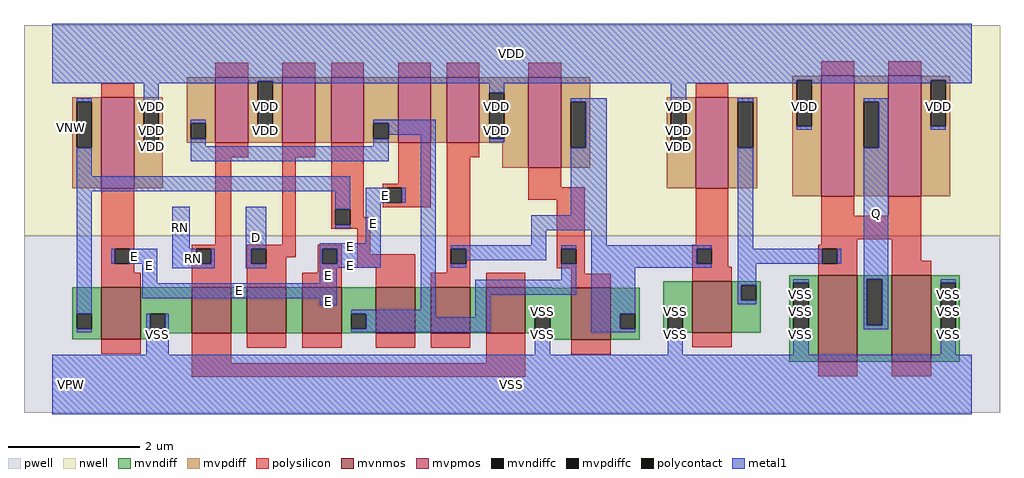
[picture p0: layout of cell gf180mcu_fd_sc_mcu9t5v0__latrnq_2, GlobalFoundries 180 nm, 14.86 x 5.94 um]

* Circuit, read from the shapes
.subckt gf180mcu_fd_sc_mcu9t5v0__latrnq_2 D E RN Q VDD VNW VPW VSS
XM1 VSS E n1 VPW nfet_06v0 w=0.79u l=0.6u
XM2 n2 RN VSS VPW nfet_06v0 w=0.7u l=0.6u
XM3 n3 D n2 VPW nfet_06v0 w=0.7u l=0.6u
XM4 n4 E n3 VPW nfet_06v0 w=0.7u l=0.6u
XM5 n5 n1 n4 VPW nfet_06v0 w=0.7u l=0.6u
XM6 n6 n7 n5 VPW nfet_06v0 w=0.7u l=0.6u
XM7 VSS RN n6 VPW nfet_06v0 w=0.7u l=0.6u
XM8 n7 n4 VSS VPW nfet_06v0 w=0.79u l=0.6u
XM9 n8 n7 VSS VPW nfet_06v0 w=0.79u l=0.6u
XM10 Q n8 VSS VPW nfet_06v0 w=1.32u l=0.6u m=2
XM11 VDD E n1 VNW pfet_06v0 w=1.38u l=0.5u
XM12 VDD RN n4 VNW pfet_06v0 w=1u l=0.5u
XM13 n9 D VDD VNW pfet_06v0 w=1u l=0.5u
XM14 n4 n1 n9 VNW pfet_06v0 w=1u l=0.5u
XM15 n10 E n4 VNW pfet_06v0 w=1u l=0.5u
XM16 VDD n7 n10 VNW pfet_06v0 w=1u l=0.5u
XM17 n7 n4 VDD VNW pfet_06v0 w=1.38u l=0.5u
XM18 n8 n7 VDD VNW pfet_06v0 w=1.38u l=0.5u
XM19 Q n8 VDD VNW pfet_06v0 w=1.83u l=0.5u m=2
.ends

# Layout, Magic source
magic
tech gf180mcuD
magscale 1 10
<< nwell >>
rect -86 453 2886 1094
<< pwell >>
rect -86 -86 2886 453
<< mvnmos >>
rect 149 138 269 296
rect 425 156 545 296
rect 593 156 713 296
rect 761 156 881 296
rect 985 156 1105 296
rect 1153 156 1273 296
rect 1321 156 1441 296
rect 1581 136 1701 294
rect 1949 157 2069 315
rect 2332 69 2452 333
rect 2556 69 2676 333
<< mvpmos >>
rect 149 598 249 874
rect 497 736 597 936
rect 701 736 801 936
rect 849 736 949 936
rect 1053 736 1153 936
rect 1201 736 1301 936
rect 1450 660 1550 936
rect 1959 598 2059 874
rect 2342 574 2442 940
rect 2546 574 2646 940
<< mvndiff >>
rect 61 216 149 296
rect 61 170 74 216
rect 120 170 149 216
rect 61 138 149 170
rect 269 216 425 296
rect 269 170 298 216
rect 344 170 425 216
rect 269 156 425 170
rect 545 156 593 296
rect 713 156 761 296
rect 881 216 985 296
rect 881 170 910 216
rect 956 170 985 216
rect 881 156 985 170
rect 1105 156 1153 296
rect 1273 156 1321 296
rect 1441 294 1521 296
rect 1441 216 1581 294
rect 1441 170 1470 216
rect 1516 170 1581 216
rect 1441 156 1581 170
rect 269 138 349 156
rect 1501 136 1581 156
rect 1701 216 1789 294
rect 1701 170 1730 216
rect 1776 170 1789 216
rect 1701 136 1789 170
rect 1861 216 1949 315
rect 1861 170 1874 216
rect 1920 170 1949 216
rect 1861 157 1949 170
rect 2069 302 2157 315
rect 2069 256 2098 302
rect 2144 256 2157 302
rect 2069 157 2157 256
rect 2244 310 2332 333
rect 2244 170 2257 310
rect 2303 170 2332 310
rect 2244 69 2332 170
rect 2452 320 2556 333
rect 2452 180 2481 320
rect 2527 180 2556 320
rect 2452 69 2556 180
rect 2676 310 2764 333
rect 2676 170 2705 310
rect 2751 170 2764 310
rect 2676 69 2764 170
<< mvpdiff >>
rect 61 861 149 874
rect 61 721 74 861
rect 120 721 149 861
rect 61 598 149 721
rect 249 861 337 874
rect 249 721 278 861
rect 324 721 337 861
rect 409 795 497 936
rect 409 749 422 795
rect 468 749 497 795
rect 409 736 497 749
rect 597 923 701 936
rect 597 783 626 923
rect 672 783 701 923
rect 597 736 701 783
rect 801 736 849 936
rect 949 795 1053 936
rect 949 749 978 795
rect 1024 749 1053 795
rect 949 736 1053 749
rect 1153 736 1201 936
rect 1301 889 1450 936
rect 1301 749 1330 889
rect 1376 749 1450 889
rect 1301 736 1450 749
rect 249 598 337 721
rect 1370 660 1450 736
rect 1550 861 1638 936
rect 2254 927 2342 940
rect 1550 721 1579 861
rect 1625 721 1638 861
rect 1550 660 1638 721
rect 1871 861 1959 874
rect 1871 721 1884 861
rect 1930 721 1959 861
rect 1871 598 1959 721
rect 2059 861 2147 874
rect 2059 721 2088 861
rect 2134 721 2147 861
rect 2059 598 2147 721
rect 2254 787 2267 927
rect 2313 787 2342 927
rect 2254 574 2342 787
rect 2442 861 2546 940
rect 2442 721 2471 861
rect 2517 721 2546 861
rect 2442 574 2546 721
rect 2646 927 2734 940
rect 2646 787 2675 927
rect 2721 787 2734 927
rect 2646 574 2734 787
<< mvndiffc >>
rect 74 170 120 216
rect 298 170 344 216
rect 910 170 956 216
rect 1470 170 1516 216
rect 1730 170 1776 216
rect 1874 170 1920 216
rect 2098 256 2144 302
rect 2257 170 2303 310
rect 2481 180 2527 320
rect 2705 170 2751 310
<< mvpdiffc >>
rect 74 721 120 861
rect 278 721 324 861
rect 422 749 468 795
rect 626 783 672 923
rect 978 749 1024 795
rect 1330 749 1376 889
rect 1579 721 1625 861
rect 1884 721 1930 861
rect 2088 721 2134 861
rect 2267 787 2313 927
rect 2471 721 2517 861
rect 2675 787 2721 927
<< polysilicon >>
rect 497 936 597 980
rect 701 936 801 980
rect 849 936 949 980
rect 1053 936 1153 980
rect 1201 936 1301 980
rect 1450 936 1550 980
rect 2342 940 2442 984
rect 2546 940 2646 984
rect 149 874 249 918
rect 497 692 597 736
rect 701 692 801 736
rect 149 413 249 598
rect 497 426 545 692
rect 701 426 741 692
rect 849 533 949 736
rect 1053 612 1153 736
rect 1006 599 1153 612
rect 1006 553 1019 599
rect 1065 553 1153 599
rect 1006 540 1153 553
rect 1201 692 1301 736
rect 849 487 862 533
rect 908 509 949 533
rect 908 487 969 509
rect 849 474 969 487
rect 149 367 190 413
rect 236 367 249 413
rect 149 340 249 367
rect 425 413 545 426
rect 425 367 438 413
rect 484 367 545 413
rect 149 296 269 340
rect 425 296 545 367
rect 593 413 741 426
rect 593 367 606 413
rect 652 387 741 413
rect 809 413 881 426
rect 652 367 713 387
rect 593 296 713 367
rect 809 367 822 413
rect 868 367 881 413
rect 809 340 881 367
rect 929 396 969 474
rect 1201 413 1273 692
rect 1959 874 2059 918
rect 1450 600 1550 660
rect 1450 562 1621 600
rect 929 356 1105 396
rect 761 296 881 340
rect 985 296 1105 356
rect 1201 367 1214 413
rect 1260 367 1273 413
rect 1201 340 1273 367
rect 1537 413 1621 562
rect 1959 426 2059 598
rect 2342 514 2442 574
rect 2546 514 2646 574
rect 2342 442 2646 514
rect 2342 426 2452 442
rect 1537 367 1550 413
rect 1596 367 1621 413
rect 1537 354 1621 367
rect 1153 296 1273 340
rect 1321 296 1441 340
rect 1581 338 1621 354
rect 1949 413 2059 426
rect 1949 367 1962 413
rect 2008 367 2059 413
rect 1949 359 2059 367
rect 2332 413 2452 426
rect 2332 367 2345 413
rect 2391 367 2452 413
rect 1581 294 1701 338
rect 1949 315 2069 359
rect 2332 333 2452 367
rect 2556 377 2646 442
rect 2556 333 2676 377
rect 149 94 269 138
rect 425 64 545 156
rect 593 112 713 156
rect 761 112 881 156
rect 985 112 1105 156
rect 1153 112 1273 156
rect 1321 64 1441 156
rect 1581 92 1701 136
rect 1949 113 2069 157
rect 425 24 1441 64
rect 2332 25 2452 69
rect 2556 25 2676 69
<< polycontact >>
rect 1019 553 1065 599
rect 862 487 908 533
rect 190 367 236 413
rect 438 367 484 413
rect 606 367 652 413
rect 822 367 868 413
rect 1214 367 1260 413
rect 1550 367 1596 413
rect 1962 367 2008 413
rect 2345 367 2391 413
<< metal1 >>
rect 0 927 2800 1098
rect 0 923 2267 927
rect 0 918 626 923
rect 74 861 120 872
rect 74 634 120 721
rect 278 861 324 918
rect 278 710 324 721
rect 422 795 468 806
rect 672 918 2267 923
rect 1330 889 1376 918
rect 626 772 672 783
rect 978 795 1168 806
rect 422 726 468 749
rect 1024 760 1168 795
rect 978 726 1024 749
rect 422 680 1024 726
rect 74 588 908 634
rect 74 216 120 588
rect 366 413 418 542
rect 590 413 652 542
rect 862 533 908 588
rect 862 476 908 487
rect 954 553 1019 599
rect 1065 553 1076 599
rect 954 430 1000 553
rect 179 367 190 413
rect 236 367 320 413
rect 274 308 320 367
rect 366 367 438 413
rect 484 367 495 413
rect 366 354 495 367
rect 590 367 606 413
rect 590 354 652 367
rect 814 413 1000 430
rect 814 367 822 413
rect 868 367 1000 413
rect 814 356 1000 367
rect 814 308 866 356
rect 274 262 866 308
rect 814 242 866 262
rect 1122 227 1168 760
rect 1330 738 1376 749
rect 1579 861 1688 872
rect 1625 721 1688 861
rect 1579 516 1688 721
rect 1884 861 1930 918
rect 1884 710 1930 721
rect 2088 861 2134 872
rect 2313 918 2675 927
rect 2267 776 2313 787
rect 2471 861 2546 872
rect 1458 470 1688 516
rect 1458 424 1504 470
rect 1642 424 1688 470
rect 1214 413 1504 424
rect 1260 378 1504 413
rect 1550 413 1596 424
rect 1214 356 1260 367
rect 1550 319 1596 367
rect 910 216 1168 227
rect 74 159 120 170
rect 287 170 298 216
rect 344 170 355 216
rect 287 90 355 170
rect 956 205 1168 216
rect 1288 273 1596 319
rect 1642 413 2008 424
rect 1642 367 1962 413
rect 1642 356 2008 367
rect 2088 413 2134 721
rect 2517 721 2546 861
rect 2721 918 2800 927
rect 2675 776 2721 787
rect 2088 367 2345 413
rect 2391 367 2402 413
rect 1288 205 1334 273
rect 956 170 1334 205
rect 910 159 1334 170
rect 1470 216 1516 227
rect 1470 90 1516 170
rect 1642 216 1776 356
rect 2088 302 2144 367
rect 2088 256 2098 302
rect 2088 245 2144 256
rect 2257 310 2303 321
rect 1642 170 1730 216
rect 1642 159 1776 170
rect 1874 216 1920 227
rect 1874 90 1920 170
rect 2257 90 2303 170
rect 2471 320 2546 721
rect 2471 180 2481 320
rect 2527 180 2546 320
rect 2471 169 2546 180
rect 2705 310 2751 321
rect 2705 90 2751 170
rect 0 -90 2800 90
<< labels >>
flabel metal1 s 590 354 652 542 0 FreeSans 200 0 0 0 D
port 1 nsew default input
flabel metal1 s 954 553 1076 599 0 FreeSans 200 0 0 0 E
port 2 nsew clock input
flabel metal1 s 2471 169 2546 872 0 FreeSans 200 0 0 0 Q
port 4 nsew default output
flabel metal1 s 366 413 418 542 0 FreeSans 200 0 0 0 RN
port 3 nsew default input
flabel metal1 s 0 918 2800 1098 0 FreeSans 200 0 0 0 VDD
port 5 nsew power bidirectional abutment
flabel metal1 s 2705 227 2751 321 0 FreeSans 200 0 0 0 VSS
port 8 nsew ground bidirectional abutment
flabel nwell s 10 734 110 834 0 FreeSans 400 0 0 0 VNW
port 6 nsew power bidirectional
flabel pwell s 10 -50 110 50 0 FreeSans 400 0 0 0 VPW
port 7 nsew ground bidirectional
rlabel metal1 s 954 430 1000 553 1 E
port 2 nsew clock input
rlabel metal1 s 814 413 1000 430 1 E
port 2 nsew clock input
rlabel metal1 s 814 367 1000 413 1 E
port 2 nsew clock input
rlabel metal1 s 179 367 320 413 1 E
port 2 nsew clock input
rlabel metal1 s 814 356 1000 367 1 E
port 2 nsew clock input
rlabel metal1 s 274 356 320 367 1 E
port 2 nsew clock input
rlabel metal1 s 814 308 866 356 1 E
port 2 nsew clock input
rlabel metal1 s 274 308 320 356 1 E
port 2 nsew clock input
rlabel metal1 s 274 262 866 308 1 E
port 2 nsew clock input
rlabel metal1 s 814 242 866 262 1 E
port 2 nsew clock input
rlabel metal1 s 366 354 495 413 1 RN
port 3 nsew default input
rlabel metal1 s 2675 776 2721 918 1 VDD
port 5 nsew power bidirectional abutment
rlabel metal1 s 2267 776 2313 918 1 VDD
port 5 nsew power bidirectional abutment
rlabel metal1 s 1884 776 1930 918 1 VDD
port 5 nsew power bidirectional abutment
rlabel metal1 s 1330 776 1376 918 1 VDD
port 5 nsew power bidirectional abutment
rlabel metal1 s 626 776 672 918 1 VDD
port 5 nsew power bidirectional abutment
rlabel metal1 s 278 776 324 918 1 VDD
port 5 nsew power bidirectional abutment
rlabel metal1 s 1884 772 1930 776 1 VDD
port 5 nsew power bidirectional abutment
rlabel metal1 s 1330 772 1376 776 1 VDD
port 5 nsew power bidirectional abutment
rlabel metal1 s 626 772 672 776 1 VDD
port 5 nsew power bidirectional abutment
rlabel metal1 s 278 772 324 776 1 VDD
port 5 nsew power bidirectional abutment
rlabel metal1 s 1884 738 1930 772 1 VDD
port 5 nsew power bidirectional abutment
rlabel metal1 s 1330 738 1376 772 1 VDD
port 5 nsew power bidirectional abutment
rlabel metal1 s 278 738 324 772 1 VDD
port 5 nsew power bidirectional abutment
rlabel metal1 s 1884 710 1930 738 1 VDD
port 5 nsew power bidirectional abutment
rlabel metal1 s 278 710 324 738 1 VDD
port 5 nsew power bidirectional abutment
rlabel metal1 s 2257 227 2303 321 1 VSS
port 8 nsew ground bidirectional abutment
rlabel metal1 s 2705 216 2751 227 1 VSS
port 8 nsew ground bidirectional abutment
rlabel metal1 s 2257 216 2303 227 1 VSS
port 8 nsew ground bidirectional abutment
rlabel metal1 s 1874 216 1920 227 1 VSS
port 8 nsew ground bidirectional abutment
rlabel metal1 s 1470 216 1516 227 1 VSS
port 8 nsew ground bidirectional abutment
rlabel metal1 s 2705 90 2751 216 1 VSS
port 8 nsew ground bidirectional abutment
rlabel metal1 s 2257 90 2303 216 1 VSS
port 8 nsew ground bidirectional abutment
rlabel metal1 s 1874 90 1920 216 1 VSS
port 8 nsew ground bidirectional abutment
rlabel metal1 s 1470 90 1516 216 1 VSS
port 8 nsew ground bidirectional abutment
rlabel metal1 s 287 90 355 216 1 VSS
port 8 nsew ground bidirectional abutment
rlabel metal1 s 0 -90 2800 90 1 VSS
port 8 nsew ground bidirectional abutment
<< properties >>
string FIXED_BBOX 0 0 2800 1008
string GDS_END 1016186
string GDS_FILE $PDKPATH/libs.ref/gf180mcu_fd_sc_mcu9t5v0/gds/gf180mcu_fd_sc_mcu9t5v0.gds
string GDS_START 1008968
string LEFclass core
string LEFsite GF018hv5v_green_sc9
string LEFsymmetry X Y
<< end >>
